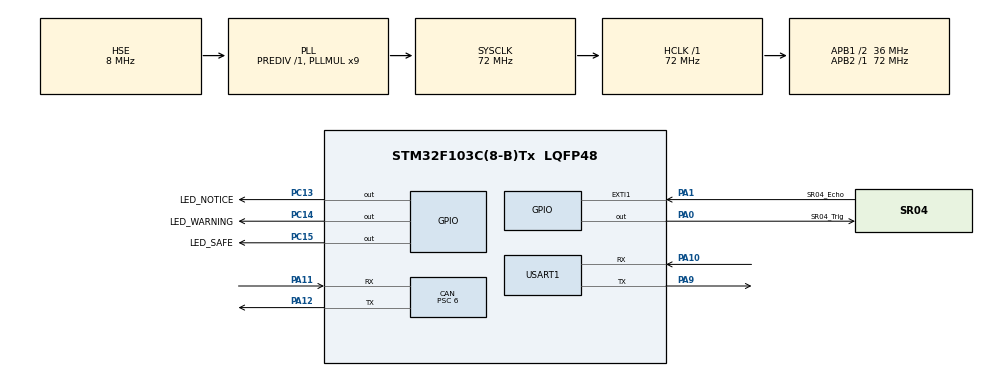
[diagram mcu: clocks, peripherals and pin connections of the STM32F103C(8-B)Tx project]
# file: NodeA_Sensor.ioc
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CAN.BS1=CAN_BS1_9TQ
CAN.BS2=CAN_BS2_2TQ
CAN.CalculateBaudRate=499999
CAN.CalculateTimeBit=2000
CAN.CalculateTimeQuantum=166.66666666666669
CAN.Prescaler=6
Mcu.Family=STM32F1
Mcu.Name=STM32F103C(8-B)Tx
Mcu.Package=LQFP48
NVIC.EXTI1_IRQn=true\:1\:0\:true\:false\:true\:true\:true\:true
NVIC.PriorityGroup=NVIC_PRIORITYGROUP_4
PA0-WKUP.GPIO_Label=SR04_Trig
PA0-WKUP.Signal=GPIO_Output
PA1.GPIO_Label=SR04_Echo
PA1.GPIO_ModeDefaultEXTI=GPIO_MODE_IT_RISING_FALLING
PA1.Signal=GPXTI1
PA10.Mode=Asynchronous
PA10.Signal=USART1_RX
PA11.Mode=CAN_Activate
PA11.Signal=CAN_RX
PA12.Mode=CAN_Activate
PA12.Signal=CAN_TX
PA13.Mode=Serial_Wire
PA13.Signal=SYS_JTMS-SWDIO
PA14.Mode=Serial_Wire
PA14.Signal=SYS_JTCK-SWCLK
PA9.Mode=Asynchronous
PA9.Signal=USART1_TX
PC13-TAMPER-RTC.GPIO_Label=LED_NOTICE
PC13-TAMPER-RTC.Signal=GPIO_Output
PC14-OSC32_IN.GPIO_Label=LED_WARNING
PC14-OSC32_IN.Signal=GPIO_Output
PC15-OSC32_OUT.GPIO_Label=LED_SAFE
PC15-OSC32_OUT.Signal=GPIO_Output
PD0-OSC_IN.Mode=HSE-External-Oscillator
PD0-OSC_IN.Signal=RCC_OSC_IN
PD1-OSC_OUT.Mode=HSE-External-Oscillator
PD1-OSC_OUT.Signal=RCC_OSC_OUT
ProjectManager.HeapSize=0x200
ProjectManager.StackSize=0x400
ProjectManager.TargetToolchain=MDK-ARM V5.32
RCC.AHBFreq_Value=72000000
RCC.APB1CLKDivider=RCC_HCLK_DIV2
RCC.APB1Freq_Value=36000000
RCC.APB1TimFreq_Value=72000000
RCC.APB2Freq_Value=72000000
RCC.APB2TimFreq_Value=72000000
RCC.HCLKFreq_Value=72000000
RCC.PLLMUL=RCC_PLL_MUL9
RCC.PLLSourceVirtual=RCC_PLLSOURCE_HSE
RCC.SYSCLKFreq_VALUE=72000000
RCC.SYSCLKSource=RCC_SYSCLKSOURCE_PLLCLK
RCC.USBFreq_Value=72000000
TIM1.Prescaler=71
USART1.VirtualMode=VM_ASYNC
VP_TIM1_VS_ClockSourceINT.Mode=Internal
board=custom

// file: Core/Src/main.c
/* USER CODE BEGIN Header */
/**
  ******************************************************************************
  * @file           : main.c
  * @brief          : Main program body
  ******************************************************************************
  * @attention
  *
  * Copyright (c) 2026 STMicroelectronics.
  * All rights reserved.
  *
  * This software is licensed under terms that can be found in the LICENSE file
  * in the root directory of this software component.
  * If no LICENSE file comes with this software, it is provided AS-IS.
  *
  ******************************************************************************
  */
/* USER CODE END Header */
#include "main.h"
#include "can.h"
#include "tim.h"
#include "usart.h"
#include "gpio.h"

/* USER CODE BEGIN Includes */
#include "hcsr04.h"
#include "string.h"
#include "stdio.h"

/* USER CODE END Includes */

/* USER CODE BEGIN PD */
#define DEBUG_MODE 0                /* 1: Turn on to enable debug output, 0: Turn off to save resources */
#define ENABLE_CAN_RX_INTERRUPT 0   /* 1: Turn on to enable CAN RX interrupt, 0: Turn off */

/* USER CODE END PD */

/* USER CODE BEGIN PV */
CAN_TxHeaderTypeDef TxHeader;    /* Structure for CAN TX message header */
uint8_t             TxData[2];   /* Buffer for 2 bytes of distance data */
uint32_t            TxMailbox;   /* Variable to store the assigned TX mailbox */
char                uart_buf[100]; /* Buffer for UART debug messages */

volatile uint32_t rx_packet_count = 0; /* Counter for received CAN packets (for debugging) */

/* USER CODE END PV */

void SystemClock_Config(void);

int main(void)
{

  /* MCU Configuration--------------------------------------------------------*/

  /* Reset of all peripherals, Initializes the Flash interface and the Systick. */
  HAL_Init();

  /* Configure the system clock */
  SystemClock_Config();

  /* Initialize all configured peripherals */
  MX_GPIO_Init();
  MX_CAN_Init();
  MX_TIM1_Init();
  MX_USART1_UART_Init();
  /* USER CODE BEGIN 2 */
  /* 1. Initialize HC-SR04 Driver */
  HCSR04_Init(&htim1);

  /* 2. Configure CAN Filter to "All-Pass" mode (Accept all incoming messages) */
  CAN_FilterTypeDef canfilterconfig;

  canfilterconfig.FilterBank = 0;                        /* Use Filter Bank 0 */
  canfilterconfig.FilterMode = CAN_FILTERMODE_IDMASK;    /* Identifier Mask mode */
  canfilterconfig.FilterScale = CAN_FILTERSCALE_32BIT;   /* 32-bit filter scale */

  canfilterconfig.FilterIdHigh = 0x0000;
  canfilterconfig.FilterIdLow = 0x0000;
  canfilterconfig.FilterMaskIdHigh = 0x0000;
  canfilterconfig.FilterMaskIdLow = 0x0000;              /* Mask: 0 means "Don't care" (Accept all) */

  canfilterconfig.FilterFIFOAssignment = CAN_RX_FIFO0;   /* Assign accepted messages to FIFO 0 */
  canfilterconfig.FilterActivation = ENABLE;             /* Activate this filter */
  canfilterconfig.SlaveStartFilterBank = 14;             /* Default for single CAN peripherals */

  if (HAL_CAN_ConfigFilter(&hcan, &canfilterconfig) != HAL_OK)
  {
    /* Filter configuration Error */
    Error_Handler();
  }

  /* 3. Start CAN Peripheral */
  if (HAL_CAN_Start(&hcan) != HAL_OK)
	{
    /* CAN start Error */
		Error_Handler();
	}

  /* 4. Activate CAN Notification (Interrupt) */
  #if ENABLE_CAN_RX_INTERRUPT
    if (HAL_CAN_ActivateNotification(&hcan, CAN_IT_RX_FIFO0_MSG_PENDING) != HAL_OK)
    {
      Error_Handler();
    }
  #endif
	/* 5. Prepare CAN TX Header for Distance Data */
  TxHeader.StdId = 0x250;               /* Message ID for Parking Sensor Data */
  TxHeader.RTR = CAN_RTR_DATA;          /* Sending actual data frame */
  TxHeader.IDE = CAN_ID_STD;            /* Using Standard 11-bit ID */
  TxHeader.DLC = 2;                     /* Data length: 2 bytes */
  TxHeader.TransmitGlobalTime = DISABLE;

  /* USER CODE END 2 */

  /* Infinite loop */
  while (1)
  {

    /* USER CODE BEGIN 3 */
    /* 1. Trigger measurement and read distance from HC-SR04 */
    float distance = HCSR04_Read();

    /* 2. Check if measurement was successful (non-negative result) */
    if (distance > 0)
    {
      /* Convert float distance (cm) to 16-bit integer */
      uint16_t dist_cm = (uint16_t)distance;

      /* 3. Pack 16-bit data into two 8-bit bytes (Big Endian) */
      TxData[0] = (uint8_t)(dist_cm >> 8);   /* High Byte (MSB) */
      TxData[1] = (uint8_t)(dist_cm & 0xFF); /* Low Byte (LSB) */

      /* 4. Request transmission of the CAN message */
			if (HAL_CAN_AddTxMessage(&hcan, &TxHeader, TxData, &TxMailbox) == HAL_OK)
      {
				/* Toggle On-board LED to indicate successful transmission */
        HAL_GPIO_TogglePin(LED_NOTICE_GPIO_Port, LED_NOTICE_Pin);

        #if DEBUG_MODE
        /* Only compile this section when DEBUG_MODE = 1 */
        sprintf(uart_buf, "CAN Sent: ID=0x%lX, Dist=%d cm\r\n", (unsigned long)TxHeader.StdId, dist_cm);
        HAL_UART_Transmit(&huart1, (uint8_t*)uart_buf, strlen(uart_buf), 100);
        #endif
      }
    }

    /* 5. Wait 100ms before the next measurement (10Hz frequency) */
    HAL_Delay(100);
  }
  /* USER CODE END 3 */
}

void SystemClock_Config(void)
{
  RCC_OscInitTypeDef RCC_OscInitStruct = {0};
  RCC_ClkInitTypeDef RCC_ClkInitStruct = {0};

  /** Initializes the RCC Oscillators according to the specified parameters
  * in the RCC_OscInitTypeDef structure.
  */
  RCC_OscInitStruct.OscillatorType = RCC_OSCILLATORTYPE_HSE;
  RCC_OscInitStruct.HSEState = RCC_HSE_ON;
  RCC_OscInitStruct.HSEPredivValue = RCC_HSE_PREDIV_DIV1;
  RCC_OscInitStruct.HSIState = RCC_HSI_ON;
  RCC_OscInitStruct.PLL.PLLState = RCC_PLL_ON;
  RCC_OscInitStruct.PLL.PLLSource = RCC_PLLSOURCE_HSE;
  RCC_OscInitStruct.PLL.PLLMUL = RCC_PLL_MUL9;
  if (HAL_RCC_OscConfig(&RCC_OscInitStruct) != HAL_OK)
  {
    Error_Handler();
  }

  /** Initializes the CPU, AHB and APB buses clocks
  */
  RCC_ClkInitStruct.ClockType = RCC_CLOCKTYPE_HCLK|RCC_CLOCKTYPE_SYSCLK
                              |RCC_CLOCKTYPE_PCLK1|RCC_CLOCKTYPE_PCLK2;
  RCC_ClkInitStruct.SYSCLKSource = RCC_SYSCLKSOURCE_PLLCLK;
  RCC_ClkInitStruct.AHBCLKDivider = RCC_SYSCLK_DIV1;
  RCC_ClkInitStruct.APB1CLKDivider = RCC_HCLK_DIV2;
  RCC_ClkInitStruct.APB2CLKDivider = RCC_HCLK_DIV1;

  if (HAL_RCC_ClockConfig(&RCC_ClkInitStruct, FLASH_LATENCY_2) != HAL_OK)
  {
    Error_Handler();
  }
}

/* USER CODE BEGIN 4 */
/* Common EXTI interrupt handler, this will call the driver's processing function */
void HAL_GPIO_EXTI_Callback(uint16_t GPIO_Pin)
{
    if (GPIO_Pin == SR04_Echo_Pin) /* Only call when the interrupt is from the HC-SR04 Echo pin */
    {
        HCSR04_EXTI_Callback();
    }
}

/**
 * @brief  Rx FIFO 0 message pending callback.
 * This function is called when a new CAN message arrives.
 * @param  hcan: pointer to a CAN_HandleTypeDef structure.
 */
#if ENABLE_CAN_RX_INTERRUPT
void HAL_CAN_RxFifo0MsgPendingCallback(CAN_HandleTypeDef *hcan)
{
  CAN_RxHeaderTypeDef RxHeader;
  uint8_t RxData[8];

  /* 1. Retrieve the message from the CAN RX FIFO */
  if (HAL_CAN_GetRxMessage(hcan, CAN_RX_FIFO0, &RxHeader, RxData) == HAL_OK)
  {

    rx_packet_count++; /* Increment the received packet counter */

    /* 2. Routing Logic: Handle incoming messages based on their ID */

    /* Example: If Gateway sends a command to Node A */
    if (RxHeader.StdId == 0x200) // Example ID for a command from the Gateway
    {
       // Handle received command here
       // e.g., Set a flag or change operation mode
    }

    /* Branch for other diagnostic IDs... */
  }
}
#endif

/* USER CODE END 4 */

void Error_Handler(void)
{
  __disable_irq();
  while (1)
  {
  }
}
